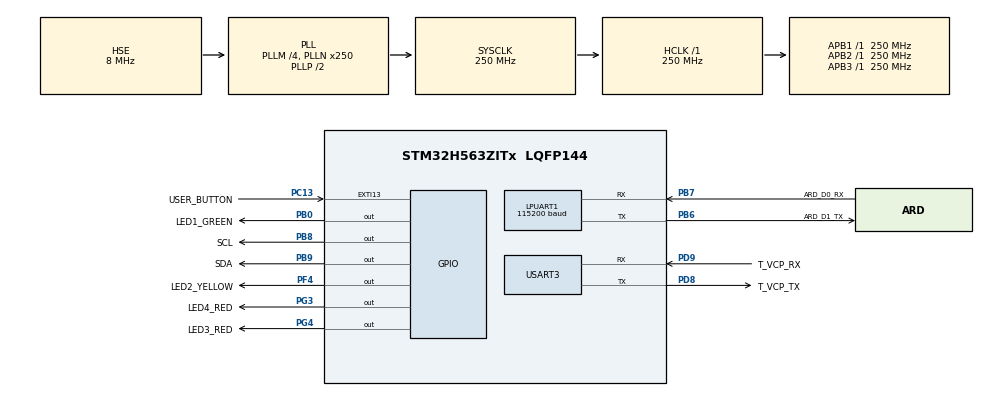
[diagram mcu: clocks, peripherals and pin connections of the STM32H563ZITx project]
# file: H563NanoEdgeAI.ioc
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CORTEX_M33_NS.userName=CORTEX_M33
LPUART1.BaudRate=115200
Mcu.Family=STM32H5
Mcu.Name=STM32H563ZITx
Mcu.Package=LQFP144
NVIC.PriorityGroup=NVIC_PRIORITYGROUP_4
PA13(JTMS/SWDIO).GPIO_Label=SWDIO
PA13(JTMS/SWDIO).Mode=Trace_Synchro_4bits_JTAG
PA13(JTMS/SWDIO).Signal=DEBUG_JTMS-SWDIO
PA14(JTCK/SWCLK).GPIO_Label=SWCLK
PA14(JTCK/SWCLK).Mode=Trace_Synchro_4bits_JTAG
PA14(JTCK/SWCLK).Signal=DEBUG_JTCK-SWCLK
PA15(JTDI).GPIO_Label=T_JTDI
PA15(JTDI).Mode=Trace_Synchro_4bits_JTAG
PA15(JTDI).Signal=DEBUG_JTDI
PB0.GPIO_Label=LED1_GREEN
PB0.Signal=GPIO_Output
PB3(JTDO/TRACESWO).GPIO_Label=SWO
PB3(JTDO/TRACESWO).Mode=Trace_Synchro_4bits_JTAG
PB3(JTDO/TRACESWO).Signal=DEBUG_JTDO-SWO
PB6.GPIO_Label=ARD_D1_TX
PB6.Mode=Asynchronous
PB6.Signal=LPUART1_TX
PB7.GPIO_Label=ARD_D0_RX
PB7.Mode=Asynchronous
PB7.Signal=LPUART1_RX
PB8.GPIO_FM8=__NULL
PB8.GPIO_Label=SCL
PB8.GPIO_ModeDefaultOutputPP=GPIO_MODE_OUTPUT_OD
PB8.GPIO_PuPd=GPIO_PULLUP
PB8.GPIO_Speed=GPIO_SPEED_FREQ_VERY_HIGH
PB8.PinState=GPIO_PIN_SET
PB8.Signal=GPIO_Output
PB9.GPIO_FM8=__NULL
PB9.GPIO_Label=SDA
PB9.GPIO_ModeDefaultOutputPP=GPIO_MODE_OUTPUT_OD
PB9.GPIO_PuPd=GPIO_PULLUP
PB9.GPIO_Speed=GPIO_SPEED_FREQ_VERY_HIGH
PB9.PinState=GPIO_PIN_SET
PB9.Signal=GPIO_Output
PC13.GPIO_Label=USER_BUTTON
PC13.Signal=GPXTI13
PC14-OSC32_IN(OSC32_IN).Mode=LSE-External-Oscillator
PC14-OSC32_IN(OSC32_IN).Signal=RCC_OSC32_IN
PC15-OSC32_OUT(OSC32_OUT).Mode=LSE-External-Oscillator
PC15-OSC32_OUT(OSC32_OUT).Signal=RCC_OSC32_OUT
PD8.GPIO_Label=T_VCP_TX
PD8.Mode=Asynchronous
PD8.Signal=USART3_TX
PD9.GPIO_Label=T_VCP_RX
PD9.Mode=Asynchronous
PD9.Signal=USART3_RX
PE2.GPIO_Label=TRACE_CK
PE2.Mode=Trace_Synchro_4bits_JTAG
PE2.Signal=DEBUG_TRACECLK
PE3.GPIO_Label=TRACE_D0
PE3.Mode=Trace_Synchro_4bits_JTAG
PE3.Signal=DEBUG_TRACED0
PE4.GPIO_Label=TRACE_D1
PE4.Mode=Trace_Synchro_4bits_JTAG
PE4.Signal=DEBUG_TRACED1
PE5.GPIO_Label=TRACE_D2
PE5.Mode=Trace_Synchro_4bits_JTAG
PE5.Signal=DEBUG_TRACED2
PE6.GPIO_Label=TRACE_D3
PE6.Mode=Trace_Synchro_4bits_JTAG
PE6.Signal=DEBUG_TRACED3
PF4.GPIO_Label=LED2_YELLOW
PF4.Signal=GPIO_Output
PG3.GPIO_Label=LED4_RED
PG3.Signal=GPIO_Output
PG4.GPIO_Label=LED3_RED
PG4.Signal=GPIO_Output
PH0-OSC_IN(PH0).Mode=HSE-DIG-External-Clock-Source
PH0-OSC_IN(PH0).Signal=RCC_OSC_IN
ProjectManager.HeapSize=0x1000
ProjectManager.StackSize=0x2000
ProjectManager.TargetToolchain=STM32CubeIDE
RCC.ADCFreq_Value=250000000
RCC.AHBFreq_Value=250000000
RCC.APB1Freq_Value=250000000
RCC.APB1TimFreq_Value=250000000
RCC.APB2Freq_Value=250000000
RCC.APB2TimFreq_Value=250000000
RCC.APB3Freq_Value=250000000
RCC.CSI_VALUE=4000000
RCC.CortexFreq_Value=250000000
RCC.EPOD_VALUE=8000000
RCC.HCLKFreq_Value=250000000
RCC.HSE_VALUE=8000000
RCC.HSI48_VALUE=48000000
RCC.HSIDiv=RCC_HSI_DIV1
RCC.HSI_VALUE=64000000
RCC.LSIRC_VALUE=32000
RCC.PLLM=4
RCC.PLLN=250
RCC.PLLSourceVirtual=RCC_PLL1_SOURCE_HSE
RCC.SYSCLKFreq_VALUE=250000000
RCC.SYSCLKSource=RCC_SYSCLKSOURCE_PLLCLK
RCC.USBFreq_Value=48000000
RCC.VCOOutputFreq_Value=500000000
USART3.OverSampling=UART_OVERSAMPLING_8
USART3.RxPinLevelInvertParam=ADVFEATURE_RXINV_ENABLE
USART3.VirtualMode=VM_ASYNC
VP_PWR_VS_SECSignals.Mode=Security/Privilege
board=NUCLEO-H563ZI

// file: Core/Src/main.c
/* USER CODE BEGIN Header */
/**
 ******************************************************************************
 * @file           : main.c
 * @brief          : Main program body
 ******************************************************************************
 * @attention
 *
 * Copyright (c) 2023 STMicroelectronics.
 * All rights reserved.
 *
 * This software is licensed under terms that can be found in the LICENSE file
 * in the root directory of this software component.
 * If no LICENSE file comes with this software, it is provided AS-IS.
 *
 ******************************************************************************
 */
/* USER CODE END Header */
#include "main.h"
#include "usart.h"
#include "gpio.h"
/* USER CODE BEGIN Includes */
#include "NanoEdgeAI.h"
#include "knowledge.h"
#include "MPU6050.h"
#include <stdio.h>
#include <string.h>
/* USER CODE END Includes */

/* USER CODE BEGIN PD */
#define AXIS_NUMBER 6//六轴传感器
#define DATA_INPUT_USER 50//导入数据数量
#define NEAI_MODE 1 //功能开启端口
#define CLASS_NUMBER 4 //class_NUMBER 调整根据实际
/* USER CODE END PD */

/* USER CODE BEGIN PV */
int16_t AX, AY, AZ, GX, GY, GZ;
char buffer[20];

uint16_t id_class = 0; // Point to id class (see argument of neai_classification fct)
float input_user_buffer[DATA_INPUT_USER * AXIS_NUMBER]; // Buffer of input values
float output_class_buffer[CLASS_NUMBER] = { 0 }; // Buffer of class probabilities
const char *id2class[CLASS_NUMBER + 1] = { // Buffer for mapping class id to class name
		"unknown", "state-normal", "fly_normal", "fly_error_L_qian", "down", };
/* USER CODE END PV */

void SystemClock_Config(void);
/* USER CODE BEGIN PFP */
void fill_input_user_buffer(void);
void print_input_user_buffer(void);
/* USER CODE END PFP */

int main(void) {

	/* MCU Configuration--------------------------------------------------------*/

	/* Reset of all peripherals, Initializes the Flash interface and the Systick. */
	HAL_Init();

	/* Configure the system clock */
	SystemClock_Config();

	/* Initialize all configured peripherals */
	MX_GPIO_Init();
	MX_LPUART1_UART_Init();
	MX_USART3_UART_Init();
	/* USER CODE BEGIN 2 */
	MPU6050_Init();
	neai_classification_init(knowledge_buffer);//分类器初始化
	int count[5] = { 0 };
	int check[5] = { 4, 4, 6, 6, 2 };

	/* USER CODE END 2 */

	/* Infinite loop */
	/* USER CODE BEGIN WHILE */
	while (1) {
		/*关于LED�?
		 * �?测一次故障，黄灯闪烁�?次；�?测到故障；检测到故障，红灯亮
		 * �?灯：HAL_GPIO_WritePin(LED2_YELLOW_GPIO_Port, LED2_YELLOW_Pin, GPIO_PIN_SET);
		 *关灯：HAL_GPIO_WritePin(LED2_YELLOW_GPIO_Port, LED2_YELLOW_Pin, GPIO_PIN_RESET);
		 *翻转：HAL_GPIO_TogglePin(LED2_YELLOW_GPIO_Port, LED2_YELLOW_Pin);
		 * LED1_GREEN
		 * LED2_YELLOW
		 * LED3_RED
		 * LED4_RED（在拓展板上�?
		 */

		/*关于串口�?
		 * USART3为VCP（USB串口�?
		 * HAL_UART_Transmit(&huart3, (uint8_t*) buffer, strlen(buffer), 1000);
		 * LPUART1与WiFi模组通信
		 * HAL_UART_Transmit(&hlpuart1, (uint8_t*) buffer, strlen(buffer), 1000);
		 */

		/*关于协议�?
		 * H563通过LPUART1与WiFi模块通信，用�?位数字代表故障类�?
		 * 0：未知情�?
		 * 1：正�?
		 * 2：左前电机故�?
		 * 3：右前电机故�?
		 * 4：左后电机故�?
		 * 5：右后电机故�?
		 * 6：自由落�?
		 * 7：前方障�?
		 * 8：电量不�?
		 */

		//读取数据，伴随黄灯微�?
		HAL_GPIO_WritePin(LED2_YELLOW_GPIO_Port, LED2_YELLOW_Pin,
				GPIO_PIN_RESET);
		fill_input_user_buffer();

		//print_input_user_buffer(); //调试时取消注释，运行时需要注释以加�?�循�?

		//使用NEAI�?测，并依据分类结果执行不同语�?

		neai_classification(input_user_buffer, output_class_buffer, &id_class); //n-class分类器
		if (1) {
			count[id_class] = count[id_class] + 1;
			if (count[id_class] == check[id_class]) { //check为各分类阈值
				sprintf(buffer, "%hu", id_class);
				HAL_UART_Transmit(&hlpuart1, (uint8_t*) buffer, strlen(buffer),
						1000);
				HAL_UART_Transmit(&hlpuart1, (uint8_t*) "\n", strlen("\n"),
						1000);
				HAL_UART_Transmit(&huart3, (uint8_t*) buffer, strlen(buffer),
						1000);
				HAL_UART_Transmit(&huart3, (uint8_t*) "\n", strlen("\n"), 1000);
				for (int i = 0; i < 5; i++)
					count[i] = 0;
			}
		} //滤波串口输出函数
	}
}
/* USER CODE END WHILE */

void SystemClock_Config(void) {
	RCC_OscInitTypeDef RCC_OscInitStruct = { 0 };
	RCC_ClkInitTypeDef RCC_ClkInitStruct = { 0 };

	/** Configure the main internal regulator output voltage
	 */
	__HAL_PWR_VOLTAGESCALING_CONFIG(PWR_REGULATOR_VOLTAGE_SCALE0);

	while (!__HAL_PWR_GET_FLAG(PWR_FLAG_VOSRDY)) {
	}

	/** Initializes the RCC Oscillators according to the specified parameters
	 * in the RCC_OscInitTypeDef structure.
	 */
	RCC_OscInitStruct.OscillatorType = RCC_OSCILLATORTYPE_HSE;
	RCC_OscInitStruct.HSEState = RCC_HSE_BYPASS_DIGITAL;
	RCC_OscInitStruct.PLL.PLLState = RCC_PLL_ON;
	RCC_OscInitStruct.PLL.PLLSource = RCC_PLL1_SOURCE_HSE;
	RCC_OscInitStruct.PLL.PLLM = 4;
	RCC_OscInitStruct.PLL.PLLN = 250;
	RCC_OscInitStruct.PLL.PLLP = 2;
	RCC_OscInitStruct.PLL.PLLQ = 2;
	RCC_OscInitStruct.PLL.PLLR = 2;
	RCC_OscInitStruct.PLL.PLLRGE = RCC_PLL1_VCIRANGE_1;
	RCC_OscInitStruct.PLL.PLLVCOSEL = RCC_PLL1_VCORANGE_WIDE;
	RCC_OscInitStruct.PLL.PLLFRACN = 0;
	if (HAL_RCC_OscConfig(&RCC_OscInitStruct) != HAL_OK) {
		Error_Handler();
	}

	/** Initializes the CPU, AHB and APB buses clocks
	 */
	RCC_ClkInitStruct.ClockType = RCC_CLOCKTYPE_HCLK | RCC_CLOCKTYPE_SYSCLK
			| RCC_CLOCKTYPE_PCLK1 | RCC_CLOCKTYPE_PCLK2 | RCC_CLOCKTYPE_PCLK3;
	RCC_ClkInitStruct.SYSCLKSource = RCC_SYSCLKSOURCE_PLLCLK;
	RCC_ClkInitStruct.AHBCLKDivider = RCC_SYSCLK_DIV1;
	RCC_ClkInitStruct.APB1CLKDivider = RCC_HCLK_DIV1;
	RCC_ClkInitStruct.APB2CLKDivider = RCC_HCLK_DIV1;
	RCC_ClkInitStruct.APB3CLKDivider = RCC_HCLK_DIV1;

	if (HAL_RCC_ClockConfig(&RCC_ClkInitStruct, FLASH_LATENCY_5) != HAL_OK) {
		Error_Handler();
	}
}

/* USER CODE BEGIN 4 */
void fill_input_user_buffer(void) {
	for (int i = 0; i < DATA_INPUT_USER; i++) {
		MPU6050_GetData(&AX, &AY, &AZ, &GX, &GY, &GZ);
		HAL_Delay(8);
		input_user_buffer[AXIS_NUMBER * i + 0] = AX;
		input_user_buffer[AXIS_NUMBER * i + 1] = AY;
		input_user_buffer[AXIS_NUMBER * i + 2] = AZ;
		input_user_buffer[AXIS_NUMBER * i + 3] = GX;
		input_user_buffer[AXIS_NUMBER * i + 4] = GY;
		input_user_buffer[AXIS_NUMBER * i + 5] = GZ;
	}
}
void print_input_user_buffer(void) {
	for (int i = 0; i < 300; i++) {
		sprintf(buffer, "%d,", input_user_buffer[i]);
		HAL_UART_Transmit(&huart3, (uint8_t*) buffer, strlen(buffer), 1000);
	}
	HAL_UART_Transmit(&huart3, (uint8_t*) "\n", 10, 1000);
}
/* USER CODE END 4 */

void Error_Handler(void) {
	__disable_irq();
	while (1) {
	}
}
